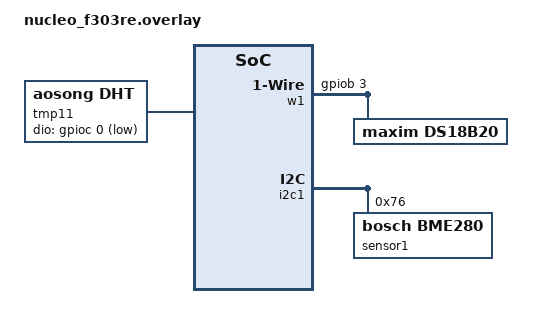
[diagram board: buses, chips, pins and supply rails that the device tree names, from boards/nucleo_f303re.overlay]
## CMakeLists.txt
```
cmake_minimum_required(VERSION 3.22)
set(BOARD nucleo_f303re)

find_package(Zephyr)
project(PlantMonitor)

file(GLOB sensors
     "src/Sensors/*.h"
     "src/Sensors/*.c"
)

target_include_directories(app PRIVATE src/Sensors/)
target_include_directories(app PRIVATE src/)

target_sources(app PRIVATE src/main.c src/DataTypes.h ${sensors})
```

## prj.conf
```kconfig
CONFIG_W1=y
CONFIG_I2C=y
CONFIG_GPIO=y

CONFIG_SENSOR=y
CONFIG_SENSOR_ASYNC_API=y

CONFIG_HEAP_MEM_POOL_SIZE=4096

CONFIG_LOG=y
CONFIG_SENSOR_LOG_LEVEL_DBG=y

# CONFIG_TIMESLICING=y
# CONFIG_TIMESLICE_SIZE=10
# CONFIG_TIMESLICE_PRIORITY=0
```

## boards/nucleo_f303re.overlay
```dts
/   {
		aliases {
			dth11tmp = &tmp11;
			sensortmp = &sensor1;
			probetemp = &ds18b20;
		};

		tmp11:dht11 {
			compatible = "aosong,dht";
			dio-gpios = <&gpioc 0 GPIO_ACTIVE_LOW>;
		};

		w1: w1 {
        	compatible = "zephyr,w1-gpio";
            gpios = <&gpiob 3 (GPIO_ACTIVE_HIGH | GPIO_OPEN_DRAIN | GPIO_PULL_UP)>;

            ds18b20: ds18b20 {
				compatible = "maxim,ds18b20";
				family-code = <0x28>;
				resolution = <12>;
				status = "okay";
			};
		};
	};

	&i2c1 {
		status = "okay";
		sensor1: bme280@76 {
			compatible = "bosch,bme280";
			reg = <0x76>;
			status = "okay";
		};
    };
```

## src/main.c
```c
#include <zephyr/kernel.h>
#include <zephyr/sys/printk.h>
#include <zephyr/drivers/gpio.h>

#include "DataTypes.h"
#include "DHT11.h"
#include "BMP280.h"
#include "DS18B20.h"

#define DHT11_PRIORITY 7
#define BMP280_PRIORITY 7
#define DS18B20_PRIORITY 7

#define DHT11_STACKSIZE 1024
#define BMP280_STACKSIZE 1024
#define DS18B20_STACKSIZE 1024


static const struct gpio_dt_spec led0 = GPIO_DT_SPEC_GET(DT_ALIAS(led0), gpios);

K_MSGQ_DEFINE(SensorDataQueue, sizeof(struct data_item_type), 25, 4);


int main(void)
{
	int ret;
	
	struct data_item_type QueueGet;

	if (!gpio_is_ready_dt(&led0)) {
		return 0;
	}

	ret = gpio_pin_configure_dt(&led0, GPIO_OUTPUT_ACTIVE);

	if (ret < 0) {
		printk("LED device not ready: %d \n",ret);
	}
	while(1) 
	{
		k_msgq_get(&SensorDataQueue,&QueueGet,K_NO_WAIT);
		printk("Inside Main Loop Data: %d ID: %d\n", QueueGet.data,QueueGet.id);
		printk("Free Space in Queue: %d \n", k_msgq_num_free_get(&SensorDataQueue));

		gpio_pin_toggle_dt(&led0);
		k_msleep(500);
	}
	return 0;
}


K_THREAD_DEFINE(dht11TID,   DHT11_STACKSIZE,   ThreadDHT11,        NULL, NULL, NULL,DHT11_PRIORITY,   0, 0);
K_THREAD_DEFINE(bmp280TID,  BMP280_STACKSIZE,  BMP280Thread,       NULL, NULL, NULL,BMP280_PRIORITY,  0, 0);
K_THREAD_DEFINE(DS18B20TID, DS18B20_STACKSIZE, DS18B20ProbeThread, NULL, NULL, NULL,DS18B20_PRIORITY, 0, 0);
```

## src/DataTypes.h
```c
#ifndef SRC_DATATYPES_H_
#define SRC_DATATYPES_H_

#include <stdio.h>

struct data_item_type {
    uint8_t data;
	uint8_t id;
};

#endif // SRC_DATATYPES_H_
```
